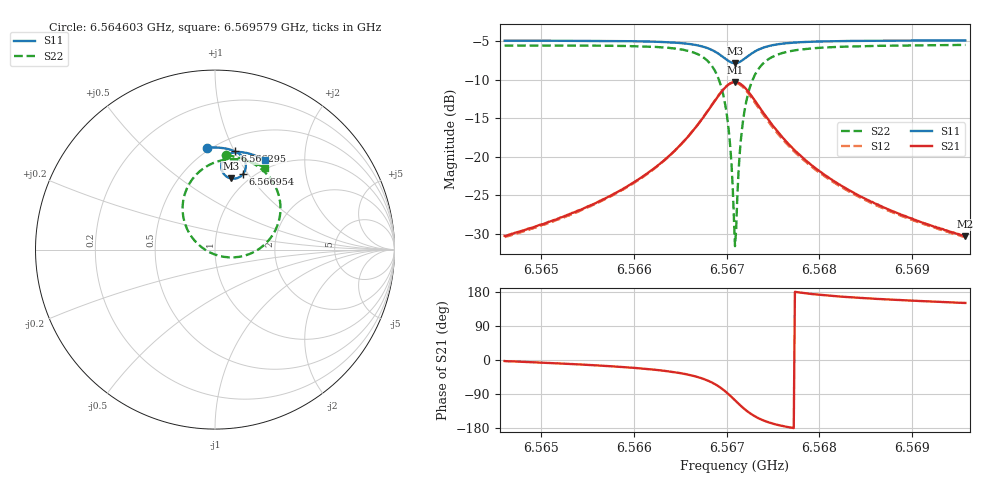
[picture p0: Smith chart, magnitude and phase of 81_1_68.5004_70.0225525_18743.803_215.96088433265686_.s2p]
#  HZ  S  RI  R  50.00
! Rohde & Schwarz Vector Network Analyzer
! Rohde-Schwarz,ZNB20-2Port,1311601062101988,3.16
! Created: UTC 3/20/2024, 4:52:09 PM
! freq[Hz]  re:S11  im:S11  re:S21  im:S21  re:S12  im:S12  re:S22  im:S22
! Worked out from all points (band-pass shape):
!   401 points, 6.564603 GHz to 6.569579 GHz, reference 50 ohm
!   highest |S21| = -10.27 dB at 6.567091 GHz (marker M1); lowest = -30.3 dB at 6.569579 GHz (marker M2)
!   |S21| within 3 dB of the highest: 6.566841 GHz to 6.567339 GHz (497.5 kHz wide, 0.00758 % of centre)
!   lowest |S11| = -7.8 dB at 6.567091 GHz (marker M3), VSWR 2.37, Z = 42.2 + j40.1 ohm
!   |S11| at or under -10 dB: nowhere
!   |S22| runs from -31.6 to -5.4 dB; largest |S21 - S12| = 0.016
!   S11 on the Smith chart (normalised r, x): 6.564603 GHz: 0.48, +0.81; 6.566295 GHz: 0.63, +1.00; 6.566954 GHz: 0.90, +0.95; 6.569579 GHz: 0.88, +1.30
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6.5646031e9  -0.0429 0.5677  0.0307 -0.00144  0.0301 -0.00199  0.0602 0.5256
6.5654365e9  0.0268 0.5673  0.0447 -0.00958  0.0441 -0.0102  0.1432 0.509
6.5662699e9  0.1084 0.5488  0.0796 -0.0404  0.0785 -0.0413  0.2643 0.4442
6.5662948e9  0.1113 0.5474  0.0814 -0.0423  0.0803 -0.0435  0.2691 0.4399
6.566556e9  0.1435 0.5264  0.1036 -0.0784  0.1019 -0.0801  0.3273 0.3691
6.566755e9  0.1674 0.4907  0.117 -0.1411  0.1141 -0.1442  0.3643 0.2482
6.566867e9  0.1712 0.4555  0.1049 -0.2032  0.0994 -0.2074  0.3458 0.1293
6.566954e9  0.1565 0.4212  0.0627 -0.2618  0.053 -0.2653  0.2672 0.02
6.5670162e9  0.131 0.4011  0.0046 -0.2941  -0.00851 -0.2944  0.1585 -0.0353
6.5670411e9  0.1173 0.3966  -0.0246 -0.3  -0.0383 -0.298  0.1051 -0.0433
6.5670784e9  0.0949 0.3955  -0.0709 -0.2981  -0.0849 -0.2925  0.0221 -0.0345
6.5670909e9  0.0874 0.3968  -0.0863 -0.2943  -0.0999 -0.2874  -0.00472 -0.0259
6.5671033e9  0.0801 0.3989  -0.1011 -0.2891  -0.1144 -0.281  -0.0305 -0.0146
6.5671157e9  0.0731 0.4018  -0.1154 -0.2825  -0.1278 -0.2733  -0.0547 -0.00073
6.5671406e9  0.0605 0.4097  -0.1411 -0.2655  -0.1519 -0.2544  -0.0975 0.033
6.5671779e9  0.0462 0.4254  -0.1711 -0.2335  -0.1784 -0.2208  -0.1447 0.0938
6.5672277e9  0.0361 0.4491  -0.1935 -0.1865  -0.1969 -0.1734  -0.176 0.1795
6.5672899e9  0.0357 0.4768  -0.1995 -0.1327  -0.199 -0.1212  -0.1767 0.2741
6.5675138e9  0.0734 0.5294  -0.1529 -0.0299  -0.1492 -0.0252  -0.0723 0.4466
6.5679243e9  0.1365 0.5437  -0.0874 0.00924  -0.0853 0.0104  0.0717 0.5023
6.5687576e9  0.2181 0.5258  -0.0425 0.0158  -0.0415 0.0161  0.2041 0.4875
6.5695786e9  0.2806 0.4974  -0.0267 0.015  -0.026 0.0152  0.2811 0.4545
